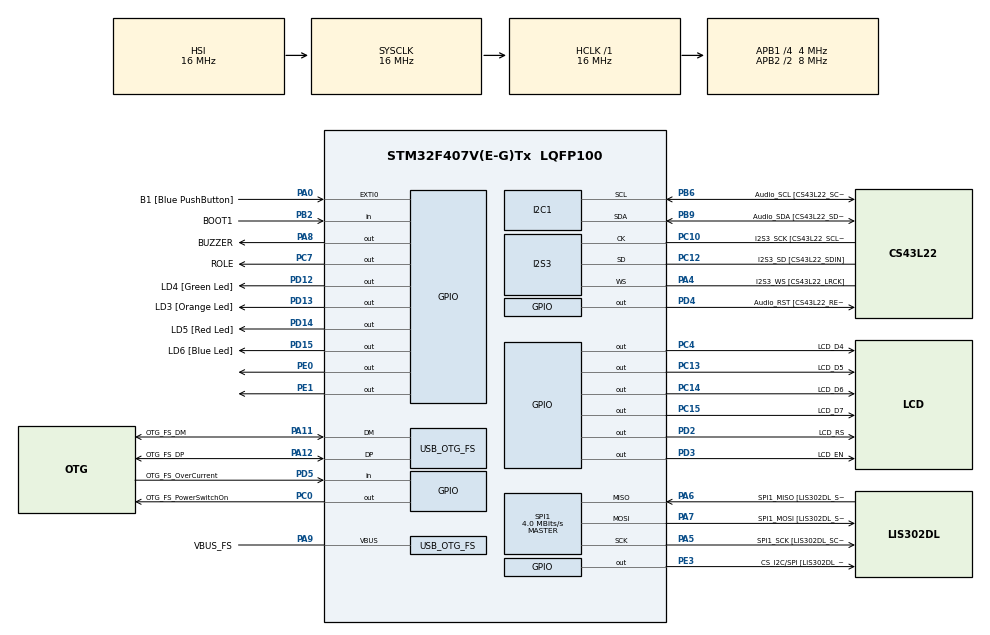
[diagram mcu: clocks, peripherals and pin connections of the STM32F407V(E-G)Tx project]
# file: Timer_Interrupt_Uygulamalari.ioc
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I2S3.ErrorAudioFreq=0.0 %
I2S3.FullDuplexMode=I2S_FULLDUPLEXMODE_DISABLE
I2S3.Instance=SPI$Index
I2S3.RealAudioFreq=8.0 KHz
I2S3.VirtualMode=I2S_MODE_MASTER
Mcu.Family=STM32F4
Mcu.Name=STM32F407V(E-G)Tx
Mcu.Package=LQFP100
NVIC.OTG_FS_IRQn=true\:0\:0\:false\:false\:true\:true\:true\:true
NVIC.PriorityGroup=NVIC_PRIORITYGROUP_0
NVIC.TIM2_IRQn=true\:0\:0\:false\:false\:true\:true\:true\:true
PA0-WKUP.GPIO_Label=B1 [Blue PushButton]
PA0-WKUP.GPIO_ModeDefaultEXTI=GPIO_MODE_EVT_RISING
PA0-WKUP.GPIO_PuPd=GPIO_NOPULL
PA0-WKUP.Signal=GPXTI0
PA10.GPIO_Label=OTG_FS_ID
PA10.GPIO_Mode=GPIO_MODE_AF_PP
PA10.GPIO_PuPd=GPIO_NOPULL
PA10.GPIO_Speed=GPIO_SPEED_FREQ_LOW
PA10.Signal=USB_OTG_FS_ID
PA11.GPIO_Label=OTG_FS_DM
PA11.GPIO_Mode=GPIO_MODE_AF_PP
PA11.GPIO_PuPd=GPIO_NOPULL
PA11.GPIO_Speed=GPIO_SPEED_FREQ_LOW
PA11.Mode=Host_Only
PA11.Signal=USB_OTG_FS_DM
PA12.GPIO_Label=OTG_FS_DP
PA12.GPIO_Mode=GPIO_MODE_AF_PP
PA12.GPIO_PuPd=GPIO_NOPULL
PA12.GPIO_Speed=GPIO_SPEED_FREQ_LOW
PA12.Mode=Host_Only
PA12.Signal=USB_OTG_FS_DP
PA13.GPIO_Label=SWDIO
PA13.Mode=Serial_Wire
PA13.Signal=SYS_JTMS-SWDIO
PA14.GPIO_Label=SWCLK
PA14.Mode=Serial_Wire
PA14.Signal=SYS_JTCK-SWCLK
PA4.GPIO_Label=I2S3_WS [CS43L22_LRCK]
PA4.GPIO_Mode=GPIO_MODE_AF_PP
PA4.GPIO_PuPd=GPIO_NOPULL
PA4.GPIO_Speed=GPIO_SPEED_FREQ_LOW
PA4.Mode=Half_Duplex_Master
PA4.Signal=I2S3_WS
PA5.GPIO_Label=SPI1_SCK [LIS302DL_SCL/SPC]
PA5.GPIO_Mode=GPIO_MODE_AF_PP
PA5.GPIO_PuPd=GPIO_NOPULL
PA5.GPIO_Speed=GPIO_SPEED_FREQ_LOW
PA5.Mode=Full_Duplex_Master
PA5.Signal=SPI1_SCK
PA6.GPIO_Label=SPI1_MISO [LIS302DL_SDO]
PA6.GPIO_Mode=GPIO_MODE_AF_PP
PA6.GPIO_PuPd=GPIO_NOPULL
PA6.GPIO_Speed=GPIO_SPEED_FREQ_LOW
PA6.Mode=Full_Duplex_Master
PA6.Signal=SPI1_MISO
PA7.GPIO_Label=SPI1_MOSI [LIS302DL_SDA/SDI/SDO]
PA7.GPIO_Mode=GPIO_MODE_AF_PP
PA7.GPIO_PuPd=GPIO_NOPULL
PA7.GPIO_Speed=GPIO_SPEED_FREQ_LOW
PA7.Mode=Full_Duplex_Master
PA7.Signal=SPI1_MOSI
PA8.GPIO_Label=BUZZER
PA8.Signal=GPIO_Output
PA9.GPIO_Label=VBUS_FS
PA9.GPIO_Mode=GPIO_MODE_INPUT
PA9.GPIO_PuPd=GPIO_NOPULL
PA9.Mode=Activate_VBUS
PA9.Signal=USB_OTG_FS_VBUS
PB10.GPIO_Label=CLK_IN [MP45DT02_CLK]
PB10.GPIO_Mode=GPIO_MODE_AF_PP
PB10.GPIO_PuPd=GPIO_NOPULL
PB10.GPIO_Speed=GPIO_SPEED_FREQ_LOW
PB10.Signal=I2S2_CK
PB2.GPIO_Label=BOOT1
PB2.GPIO_Mode=GPIO_MODE_INPUT
PB2.GPIO_PuPd=GPIO_NOPULL
PB2.Signal=GPIO_Input
PB3.GPIO_Label=SWO
PB3.Signal=SYS_JTDO-SWO
PB6.GPIO_Label=Audio_SCL [CS43L22_SCL]
PB6.GPIO_Mode=GPIO_MODE_AF_OD
PB6.GPIO_Pu=GPIO_PULLUP
PB6.GPIO_PuPd=GPIO_NOPULL
PB6.GPIO_Speed=GPIO_SPEED_FREQ_LOW
PB6.Mode=I2C
PB6.Signal=I2C1_SCL
PB9.GPIO_Label=Audio_SDA [CS43L22_SDA]
PB9.GPIO_Mode=GPIO_MODE_AF_OD
PB9.GPIO_Pu=GPIO_PULLUP
PB9.GPIO_PuPd=GPIO_NOPULL
PB9.GPIO_Speed=GPIO_SPEED_FREQ_LOW
PB9.Mode=I2C
PB9.Signal=I2C1_SDA
PC0.GPIO_Label=OTG_FS_PowerSwitchOn
PC0.GPIO_PuPd=GPIO_NOPULL
PC0.GPIO_Speed=GPIO_SPEED_FREQ_LOW
PC0.PinState=GPIO_PIN_SET
PC0.Signal=GPIO_Output
PC10.GPIO_Label=I2S3_SCK [CS43L22_SCLK]
PC10.GPIO_Mode=GPIO_MODE_AF_PP
PC10.GPIO_PuPd=GPIO_NOPULL
PC10.GPIO_Speed=GPIO_SPEED_FREQ_LOW
PC10.Mode=Half_Duplex_Master
PC10.Signal=I2S3_CK
PC12.GPIO_Label=I2S3_SD [CS43L22_SDIN]
PC12.GPIO_Mode=GPIO_MODE_AF_PP
PC12.GPIO_PuPd=GPIO_NOPULL
PC12.GPIO_Speed=GPIO_SPEED_FREQ_LOW
PC12.Mode=Half_Duplex_Master
PC12.Signal=I2S3_SD
PC13-ANTI_TAMP.GPIO_Label=LCD_D5
PC13-ANTI_TAMP.Signal=GPIO_Output
PC14-OSC32_IN.GPIO_Label=LCD_D6
PC14-OSC32_IN.Signal=GPIO_Output
PC15-OSC32_OUT.GPIO_Label=LCD_D7
PC15-OSC32_OUT.Signal=GPIO_Output
PC3.GPIO_Label=PDM_OUT [MP45DT02_DOUT]
PC3.GPIO_Mode=GPIO_MODE_AF_PP
PC3.GPIO_PuPd=GPIO_NOPULL
PC3.GPIO_Speed=GPIO_SPEED_FREQ_LOW
PC3.Signal=I2S2_SD
PC4.GPIO_Label=LCD_D4
PC4.Signal=GPIO_Output
PC7.GPIO_Label=ROLE
PC7.Signal=GPIO_Output
PD12.GPIO_Label=LD4 [Green Led]
PD12.GPIO_PuPd=GPIO_NOPULL
PD12.GPIO_Speed=GPIO_SPEED_FREQ_LOW
PD12.Signal=GPIO_Output
PD13.GPIO_Label=LD3 [Orange Led]
PD13.GPIO_PuPd=GPIO_NOPULL
PD13.GPIO_Speed=GPIO_SPEED_FREQ_LOW
PD13.Signal=GPIO_Output
PD14.GPIO_Label=LD5 [Red Led]
PD14.GPIO_PuPd=GPIO_NOPULL
PD14.GPIO_Speed=GPIO_SPEED_FREQ_LOW
PD14.Signal=GPIO_Output
PD15.GPIO_Label=LD6 [Blue Led]
PD15.GPIO_PuPd=GPIO_NOPULL
PD15.GPIO_Speed=GPIO_SPEED_FREQ_LOW
PD15.Signal=GPIO_Output
PD2.GPIO_Label=LCD_RS
PD2.Signal=GPIO_Output
PD3.GPIO_Label=LCD_EN
PD3.Signal=GPIO_Output
PD4.GPIO_Label=Audio_RST [CS43L22_RESET]
PD4.GPIO_PuPd=GPIO_NOPULL
PD4.GPIO_Speed=GPIO_SPEED_FREQ_LOW
PD4.Signal=GPIO_Output
PD5.GPIO_Label=OTG_FS_OverCurrent
PD5.GPIO_Mode=GPIO_MODE_INPUT
PD5.GPIO_PuPd=GPIO_NOPULL
PD5.Signal=GPIO_Input
PE0.Signal=GPIO_Output
PE1.Signal=GPIO_Output
PE3.GPIO_Label=CS_I2C/SPI [LIS302DL_CS_I2C/SPI]
PE3.GPIO_PuPd=GPIO_NOPULL
PE3.GPIO_Speed=GPIO_SPEED_FREQ_LOW
PE3.Signal=GPIO_Output
PH0-OSC_IN.GPIO_Label=PH0-OSC_IN
PH0-OSC_IN.Mode=HSE-External-Oscillator
PH0-OSC_IN.Signal=RCC_OSC_IN
PH1-OSC_OUT.GPIO_Label=PH1-OSC_OUT
PH1-OSC_OUT.Mode=HSE-External-Oscillator
PH1-OSC_OUT.Signal=RCC_OSC_OUT
ProjectManager.HeapSize=0x200
ProjectManager.StackSize=0x400
ProjectManager.TargetToolchain=STM32CubeIDE
RCC.48MHZClocksFreq_Value=48000000
RCC.AHBFreq_Value=16000000
RCC.APB1CLKDivider=RCC_HCLK_DIV4
RCC.APB1Freq_Value=4000000
RCC.APB1TimFreq_Value=8000000
RCC.APB2CLKDivider=RCC_HCLK_DIV2
RCC.APB2Freq_Value=8000000
RCC.APB2TimFreq_Value=16000000
RCC.CortexFreq_Value=16000000
RCC.HCLKFreq_Value=16000000
RCC.HSE_VALUE=8000000
RCC.HSI_VALUE=16000000
RCC.PLLM=8
RCC.PLLN=336
RCC.PLLQ=7
RCC.SYSCLKFreq_VALUE=16000000
RCC.VCOOutputFreq_Value=336000000
SPI1.BaudRatePrescaler-Full_Duplex_Master=SPI_BAUDRATEPRESCALER_2
SPI1.CalculateBaudRate=4.0 MBits/s
SPI1.CalculateBaudRate-Full_Duplex_Master=42.0 MBits/s
SPI1.Direction=SPI_DIRECTION_2LINES
SPI1.Mode=SPI_MODE_MASTER
SPI1.Mode-Full_Duplex_Master=SPI_MODE_MASTER
SPI1.VirtualType=VM_MASTER
TIM2.Period=999
TIM2.Prescaler=15999
USB_HOST.BSP.number=1
USB_HOST.USBH_HandleTypeDef-CDC_FS=hUsbHostFS
USB_HOST.VirtualModeFS=Cdc
USB_HOST0.BSP.STBoard=false
USB_HOST0.BSP.api=Unknown
USB_HOST0.BSP.instance=PC0
USB_HOST0.BSP.ip=GPIO
USB_HOST0.BSP.mode=Output
USB_HOST0.BSP.name=Drive_VBUS_FS
USB_HOST0.BSP.solution=PC0
USB_OTG_FS.VirtualMode=Host_Only
USB_OTG_FS.phy_itface=HCD_PHY_EMBEDDED
VP_TIM2_VS_ClockSourceINT.Mode=Internal
VP_USB_HOST_VS_USB_HOST_CDC_FS.Mode=CDC_FS
board=STM32F407G-DISC1

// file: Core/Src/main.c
/* USER CODE BEGIN Header */
/**
  ******************************************************************************
  * @file           : main.c
  * @brief          : Main program body
  ******************************************************************************
  * @attention
  *
  * Copyright (c) 2026 STMicroelectronics.
  * All rights reserved.
  *
  * This software is licensed under terms that can be found in the LICENSE file
  * in the root directory of this software component.
  * If no LICENSE file comes with this software, it is provided AS-IS.
  *
  ******************************************************************************
  */
/* USER CODE END Header */
#include "main.h"
#include "usb_host.h"

/* USER CODE BEGIN Includes */
#include "lcd.h" // LCD kütüphanesini çağır
#include <stdio.h> // "sprintf" fonksiyonu için gerekli
/* USER CODE END Includes */

I2C_HandleTypeDef hi2c1;

I2S_HandleTypeDef hi2s3;

SPI_HandleTypeDef hspi1;

TIM_HandleTypeDef htim2;

/* USER CODE BEGIN PV */
volatile uint8_t timer_bayrak = 0; // Kesmeden ana döngüye haber taşıyan bayrak
int sayac = 10; // Geri sayım süresi (Saniye)
char msg[20]; // LCD'ye yazılacak metin kutusu
/* USER CODE END PV */

void SystemClock_Config(void);
static void MX_GPIO_Init(void);
static void MX_I2C1_Init(void);
static void MX_I2S3_Init(void);
static void MX_SPI1_Init(void);
static void MX_TIM2_Init(void);
void MX_USB_HOST_Process(void);

int main(void)
{

  /* MCU Configuration--------------------------------------------------------*/

  /* Reset of all peripherals, Initializes the Flash interface and the Systick. */
  HAL_Init();

  /* Configure the system clock */
  SystemClock_Config();

  /* Initialize all configured peripherals */
  MX_GPIO_Init();
  MX_I2C1_Init();
  MX_I2S3_Init();
  MX_SPI1_Init();
  MX_USB_HOST_Init();
  MX_TIM2_Init();
  /* USER CODE BEGIN 2 */
   // --- SİSTEM BAŞLANGIÇ AYARLARI ---
   Lcd_Init(); // LCD Ekranı Başlat
   Lcd_String("SISTEM HAZIR"); // Açılış Mesajı
   HAL_Delay(1000); // 1 saniye bekle
   Lcd_Clear(); // Ekranı temizle

   // Güvenlik: Başlangıçta Röle ve Buzzer KAPALI olsun
   HAL_GPIO_WritePin(GPIOC, GPIO_PIN_7, GPIO_PIN_RESET);
   HAL_GPIO_WritePin(GPIOA, GPIO_PIN_8, GPIO_PIN_RESET);
   // Timer 2'yi Kesme (Interrupt) Modunda Başlat
   HAL_TIM_Base_Start_IT(&htim2);
   /* USER CODE END 2 */

  /* Infinite loop */
   /* USER CODE BEGIN WHILE */
    while (1)
    {
    // --- ZAMANLAYICI KONTROLÜ ---
    // Kesme fonksiyonundan haber geldi mi? (1 Saniye doldu mu?)
    if (timer_bayrak == 1)
    {
    timer_bayrak = 0; // Haberi aldık, bayrağı indir (Resetle)
    // Eğer süre henüz bitmediyse (NORMAL MOD)
    if (sayac > 0)
    {
    sayac--; // Süreyi 1 azalt
    // LCD Ekranı Güncelle
    Lcd_Set_Cursor(0, 0);
    Lcd_String("GERI SAYIM...");

    Lcd_Set_Cursor(1, 0);
    sprintf(msg, "KALAN: %02d SN ", sayac); // Sayıyı metne çevir
    Lcd_String(msg);
    // Sistem Çalışıyor Efekti: PE0 LED'ini yak/söndür
    HAL_GPIO_TogglePin(GPIOE, GPIO_PIN_0);
    }
    // Süre bittiyse (ALARM MODU)
    else
    {
    // 1. RÖLEYİ TETİKLE (PC7 -> Logic 1)
    // Bu işlem, röleye bağlı motoru/lambayı çalıştırır.
    HAL_GPIO_WritePin(GPIOC, GPIO_PIN_7, GPIO_PIN_SET);

    // 2. LCD'ye Alarm Mesajı Yaz
    Lcd_Set_Cursor(0, 0);
    Lcd_String("!! ALARM !! ");
    Lcd_Set_Cursor(1, 0);
    Lcd_String("MOTOR AKTIF ");

    // 3. Buzzer ve Alarm LED'ini (PE1) Flaşör Yap
    HAL_GPIO_TogglePin(GPIOA, GPIO_PIN_8); // Buzzer öter/susar
    HAL_GPIO_TogglePin(GPIOE, GPIO_PIN_1); // Kırmızı LED yanıp söner
    }
    }
    /* USER CODE END WHILE */
    MX_USB_HOST_Process();

  }
}

void SystemClock_Config(void)
{
  RCC_OscInitTypeDef RCC_OscInitStruct = {0};
  RCC_ClkInitTypeDef RCC_ClkInitStruct = {0};

  /** Configure the main internal regulator output voltage
  */
  __HAL_RCC_PWR_CLK_ENABLE();
  __HAL_PWR_VOLTAGESCALING_CONFIG(PWR_REGULATOR_VOLTAGE_SCALE1);

  /** Initializes the RCC Oscillators according to the specified parameters
  * in the RCC_OscInitTypeDef structure.
  */
  RCC_OscInitStruct.OscillatorType = RCC_OSCILLATORTYPE_HSI|RCC_OSCILLATORTYPE_HSE;
  RCC_OscInitStruct.HSEState = RCC_HSE_ON;
  RCC_OscInitStruct.HSIState = RCC_HSI_ON;
  RCC_OscInitStruct.HSICalibrationValue = RCC_HSICALIBRATION_DEFAULT;
  RCC_OscInitStruct.PLL.PLLState = RCC_PLL_ON;
  RCC_OscInitStruct.PLL.PLLSource = RCC_PLLSOURCE_HSE;
  RCC_OscInitStruct.PLL.PLLM = 8;
  RCC_OscInitStruct.PLL.PLLN = 336;
  RCC_OscInitStruct.PLL.PLLP = RCC_PLLP_DIV2;
  RCC_OscInitStruct.PLL.PLLQ = 7;
  if (HAL_RCC_OscConfig(&RCC_OscInitStruct) != HAL_OK)
  {
    Error_Handler();
  }

  /** Initializes the CPU, AHB and APB buses clocks
  */
  RCC_ClkInitStruct.ClockType = RCC_CLOCKTYPE_HCLK|RCC_CLOCKTYPE_SYSCLK
                              |RCC_CLOCKTYPE_PCLK1|RCC_CLOCKTYPE_PCLK2;
  RCC_ClkInitStruct.SYSCLKSource = RCC_SYSCLKSOURCE_HSI;
  RCC_ClkInitStruct.AHBCLKDivider = RCC_SYSCLK_DIV1;
  RCC_ClkInitStruct.APB1CLKDivider = RCC_HCLK_DIV4;
  RCC_ClkInitStruct.APB2CLKDivider = RCC_HCLK_DIV2;

  if (HAL_RCC_ClockConfig(&RCC_ClkInitStruct, FLASH_LATENCY_0) != HAL_OK)
  {
    Error_Handler();
  }
}

static void MX_I2C1_Init(void)
{

  hi2c1.Instance = I2C1;
  hi2c1.Init.ClockSpeed = 100000;
  hi2c1.Init.DutyCycle = I2C_DUTYCYCLE_2;
  hi2c1.Init.OwnAddress1 = 0;
  hi2c1.Init.AddressingMode = I2C_ADDRESSINGMODE_7BIT;
  hi2c1.Init.DualAddressMode = I2C_DUALADDRESS_DISABLE;
  hi2c1.Init.OwnAddress2 = 0;
  hi2c1.Init.GeneralCallMode = I2C_GENERALCALL_DISABLE;
  hi2c1.Init.NoStretchMode = I2C_NOSTRETCH_DISABLE;
  if (HAL_I2C_Init(&hi2c1) != HAL_OK)
  {
    Error_Handler();
  }

}

static void MX_I2S3_Init(void)
{

  hi2s3.Instance = SPI3;
  hi2s3.Init.Mode = I2S_MODE_MASTER_TX;
  hi2s3.Init.Standard = I2S_STANDARD_PHILIPS;
  hi2s3.Init.DataFormat = I2S_DATAFORMAT_16B;
  hi2s3.Init.MCLKOutput = I2S_MCLKOUTPUT_DISABLE;
  hi2s3.Init.AudioFreq = I2S_AUDIOFREQ_8K;
  hi2s3.Init.CPOL = I2S_CPOL_LOW;
  hi2s3.Init.ClockSource = I2S_CLOCK_PLL;
  hi2s3.Init.FullDuplexMode = I2S_FULLDUPLEXMODE_DISABLE;
  if (HAL_I2S_Init(&hi2s3) != HAL_OK)
  {
    Error_Handler();
  }

}

static void MX_SPI1_Init(void)
{

  /* SPI1 parameter configuration*/
  hspi1.Instance = SPI1;
  hspi1.Init.Mode = SPI_MODE_MASTER;
  hspi1.Init.Direction = SPI_DIRECTION_2LINES;
  hspi1.Init.DataSize = SPI_DATASIZE_8BIT;
  hspi1.Init.CLKPolarity = SPI_POLARITY_LOW;
  hspi1.Init.CLKPhase = SPI_PHASE_1EDGE;
  hspi1.Init.NSS = SPI_NSS_SOFT;
  hspi1.Init.BaudRatePrescaler = SPI_BAUDRATEPRESCALER_2;
  hspi1.Init.FirstBit = SPI_FIRSTBIT_MSB;
  hspi1.Init.TIMode = SPI_TIMODE_DISABLE;
  hspi1.Init.CRCCalculation = SPI_CRCCALCULATION_DISABLE;
  hspi1.Init.CRCPolynomial = 10;
  if (HAL_SPI_Init(&hspi1) != HAL_OK)
  {
    Error_Handler();
  }

}

static void MX_TIM2_Init(void)
{

  TIM_ClockConfigTypeDef sClockSourceConfig = {0};
  TIM_MasterConfigTypeDef sMasterConfig = {0};

  htim2.Instance = TIM2;
  htim2.Init.Prescaler = 15999;
  htim2.Init.CounterMode = TIM_COUNTERMODE_UP;
  htim2.Init.Period = 999;
  htim2.Init.ClockDivision = TIM_CLOCKDIVISION_DIV1;
  htim2.Init.AutoReloadPreload = TIM_AUTORELOAD_PRELOAD_DISABLE;
  if (HAL_TIM_Base_Init(&htim2) != HAL_OK)
  {
    Error_Handler();
  }
  sClockSourceConfig.ClockSource = TIM_CLOCKSOURCE_INTERNAL;
  if (HAL_TIM_ConfigClockSource(&htim2, &sClockSourceConfig) != HAL_OK)
  {
    Error_Handler();
  }
  sMasterConfig.MasterOutputTrigger = TIM_TRGO_RESET;
  sMasterConfig.MasterSlaveMode = TIM_MASTERSLAVEMODE_DISABLE;
  if (HAL_TIMEx_MasterConfigSynchronization(&htim2, &sMasterConfig) != HAL_OK)
  {
    Error_Handler();
  }

}

static void MX_GPIO_Init(void)
{
  GPIO_InitTypeDef GPIO_InitStruct = {0};

  /* GPIO Ports Clock Enable */
  __HAL_RCC_GPIOE_CLK_ENABLE();
  __HAL_RCC_GPIOC_CLK_ENABLE();
  __HAL_RCC_GPIOH_CLK_ENABLE();
  __HAL_RCC_GPIOA_CLK_ENABLE();
  __HAL_RCC_GPIOB_CLK_ENABLE();
  __HAL_RCC_GPIOD_CLK_ENABLE();

  /*Configure GPIO pin Output Level */
  HAL_GPIO_WritePin(GPIOE, CS_I2C_SPI_Pin|GPIO_PIN_0|GPIO_PIN_1, GPIO_PIN_RESET);

  /*Configure GPIO pin Output Level */
  HAL_GPIO_WritePin(GPIOC, LCD_D5_Pin|LCD_D6_Pin|LCD_D7_Pin|LCD_D4_Pin
                          |ROLE_Pin, GPIO_PIN_RESET);

  /*Configure GPIO pin Output Level */
  HAL_GPIO_WritePin(OTG_FS_PowerSwitchOn_GPIO_Port, OTG_FS_PowerSwitchOn_Pin, GPIO_PIN_SET);

  /*Configure GPIO pin Output Level */
  HAL_GPIO_WritePin(GPIOD, LD4_Pin|LD3_Pin|LD5_Pin|LD6_Pin
                          |LCD_RS_Pin|LCD_EN_Pin|Audio_RST_Pin, GPIO_PIN_RESET);

  /*Configure GPIO pin Output Level */
  HAL_GPIO_WritePin(BUZZER_GPIO_Port, BUZZER_Pin, GPIO_PIN_RESET);

  /*Configure GPIO pins : CS_I2C_SPI_Pin PE0 PE1 */
  GPIO_InitStruct.Pin = CS_I2C_SPI_Pin|GPIO_PIN_0|GPIO_PIN_1;
  GPIO_InitStruct.Mode = GPIO_MODE_OUTPUT_PP;
  GPIO_InitStruct.Pull = GPIO_NOPULL;
  GPIO_InitStruct.Speed = GPIO_SPEED_FREQ_LOW;
  HAL_GPIO_Init(GPIOE, &GPIO_InitStruct);

  /*Configure GPIO pins : LCD_D5_Pin LCD_D6_Pin LCD_D7_Pin OTG_FS_PowerSwitchOn_Pin
                           LCD_D4_Pin ROLE_Pin */
  GPIO_InitStruct.Pin = LCD_D5_Pin|LCD_D6_Pin|LCD_D7_Pin|OTG_FS_PowerSwitchOn_Pin
                          |LCD_D4_Pin|ROLE_Pin;
  GPIO_InitStruct.Mode = GPIO_MODE_OUTPUT_PP;
  GPIO_InitStruct.Pull = GPIO_NOPULL;
  GPIO_InitStruct.Speed = GPIO_SPEED_FREQ_LOW;
  HAL_GPIO_Init(GPIOC, &GPIO_InitStruct);

  /*Configure GPIO pin : PDM_OUT_Pin */
  GPIO_InitStruct.Pin = PDM_OUT_Pin;
  GPIO_InitStruct.Mode = GPIO_MODE_AF_PP;
  GPIO_InitStruct.Pull = GPIO_NOPULL;
  GPIO_InitStruct.Speed = GPIO_SPEED_FREQ_LOW;
  GPIO_InitStruct.Alternate = GPIO_AF5_SPI2;
  HAL_GPIO_Init(PDM_OUT_GPIO_Port, &GPIO_InitStruct);

  /*Configure GPIO pin : B1_Pin */
  GPIO_InitStruct.Pin = B1_Pin;
  GPIO_InitStruct.Mode = GPIO_MODE_EVT_RISING;
  GPIO_InitStruct.Pull = GPIO_NOPULL;
  HAL_GPIO_Init(B1_GPIO_Port, &GPIO_InitStruct);

  /*Configure GPIO pin : BOOT1_Pin */
  GPIO_InitStruct.Pin = BOOT1_Pin;
  GPIO_InitStruct.Mode = GPIO_MODE_INPUT;
  GPIO_InitStruct.Pull = GPIO_NOPULL;
  HAL_GPIO_Init(BOOT1_GPIO_Port, &GPIO_InitStruct);

  /*Configure GPIO pin : CLK_IN_Pin */
  GPIO_InitStruct.Pin = CLK_IN_Pin;
  GPIO_InitStruct.Mode = GPIO_MODE_AF_PP;
  GPIO_InitStruct.Pull = GPIO_NOPULL;
  GPIO_InitStruct.Speed = GPIO_SPEED_FREQ_LOW;
  GPIO_InitStruct.Alternate = GPIO_AF5_SPI2;
  HAL_GPIO_Init(CLK_IN_GPIO_Port, &GPIO_InitStruct);

  /*Configure GPIO pins : LD4_Pin LD3_Pin LD5_Pin LD6_Pin
                           LCD_RS_Pin LCD_EN_Pin Audio_RST_Pin */
  GPIO_InitStruct.Pin = LD4_Pin|LD3_Pin|LD5_Pin|LD6_Pin
                          |LCD_RS_Pin|LCD_EN_Pin|Audio_RST_Pin;
  GPIO_InitStruct.Mode = GPIO_MODE_OUTPUT_PP;
  GPIO_InitStruct.Pull = GPIO_NOPULL;
  GPIO_InitStruct.Speed = GPIO_SPEED_FREQ_LOW;
  HAL_GPIO_Init(GPIOD, &GPIO_InitStruct);

  /*Configure GPIO pin : BUZZER_Pin */
  GPIO_InitStruct.Pin = BUZZER_Pin;
  GPIO_InitStruct.Mode = GPIO_MODE_OUTPUT_PP;
  GPIO_InitStruct.Pull = GPIO_NOPULL;
  GPIO_InitStruct.Speed = GPIO_SPEED_FREQ_LOW;
  HAL_GPIO_Init(BUZZER_GPIO_Port, &GPIO_InitStruct);

  /*Configure GPIO pin : OTG_FS_OverCurrent_Pin */
  GPIO_InitStruct.Pin = OTG_FS_OverCurrent_Pin;
  GPIO_InitStruct.Mode = GPIO_MODE_INPUT;
  GPIO_InitStruct.Pull = GPIO_NOPULL;
  HAL_GPIO_Init(OTG_FS_OverCurrent_GPIO_Port, &GPIO_InitStruct);

}

/* USER CODE BEGIN 4 */
void HAL_TIM_PeriodElapsedCallback(TIM_HandleTypeDef *htim)
{
 // Eğer süresi dolan zamanlayıcı TIM2 ise
 if (htim->Instance == TIM2)
 {
 timer_bayrak = 1; // Ana döngüye "Süre Doldu" mesajı ver
 }
}
/* USER CODE END 4 */

void Error_Handler(void)
{
  __disable_irq();
  while (1)
  {
  }
}
